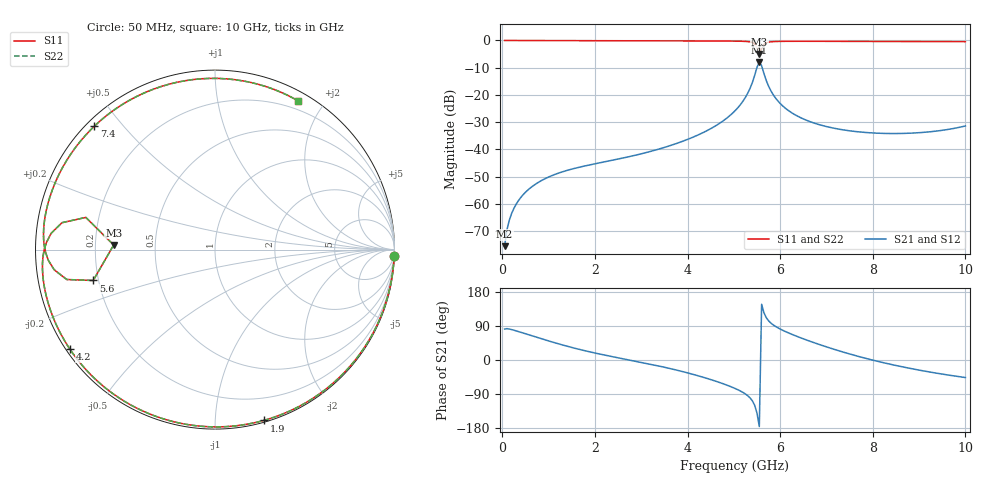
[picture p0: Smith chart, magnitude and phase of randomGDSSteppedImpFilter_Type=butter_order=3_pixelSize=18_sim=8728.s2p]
! freq	dB(S11)	phase(S11)	dB(S12)	phase(S12)
!  dB(S21)	phase(S21)	dB(S22)	phase(S22)
!S-par simulation data
#  GHz  S  DB  R 50
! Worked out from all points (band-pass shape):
!   200 points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, 50 MHz to 10 GHz, reference 50 ohm
!   highest |S21| = -7.91 dB at 5.55 GHz (marker M1); lowest = -75.5 dB at 50 MHz (marker M2)
!   |S21| within 3 dB of the highest: 5.482 GHz to 5.628 GHz (146.6 MHz wide, 2.64 % of centre)
!   lowest |S11| = -5.0 dB at 5.55 GHz (marker M3), VSWR 3.60, Z = 13.9 + j1.03 ohm
!   |S11| at or under -10 dB: nowhere
!   |S22| runs from -5.0 to 0.0 dB; largest |S21 - S12| = 0
!   S11 on the Smith chart (normalised r, x): 50 MHz: 1, -54; 1.9 GHz: 0.01, -1.33; 4.2 GHz: 0.01, -0.31; 5.6 GHz: 0.18, -0.12; 7.4 GHz: 0.02, +0.42; 10 GHz: 0.10, +1.69
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0.05  -0.00 -2.1  -75.46 81.6  -75.46 81.6  -0.00 -2.1
0.1  -0.01 -4.2  -69.52 82.8  -69.52 82.8  -0.01 -4.2
0.2  -0.02 -8.3  -63.53 80.3  -63.53 80.3  -0.02 -8.3
0.5  -0.03 -20.5  -55.70 69.3  -55.70 69.3  -0.03 -20.5
1  -0.05 -40.4  -50.10 50.3  -50.10 50.3  -0.05 -40.4
1.75  -0.08 -68.7  -46.16 25.4  -46.16 25.4  -0.08 -68.7
1.9  -0.09 -74.1  -45.61 21.2  -45.61 21.2  -0.09 -74.1
2.6  -0.11 -97.8  -43.16 3.4  -43.16 3.4  -0.11 -97.8
3.4  -0.14 -122.6  -39.75 -16.4  -39.75 -16.4  -0.14 -122.6
4.2  -0.17 -145.6  -34.88 -40.6  -34.88 -40.6  -0.17 -145.6
5.05  -0.25 -170.1  -25.36 -76.4  -25.36 -76.4  -0.25 -170.1
5.4  -0.75 174.3  -15.41 -107.8  -15.41 -107.8  -0.75 174.3
5.5  -2.60 166.0  -9.83 -140.2  -9.83 -140.2  -2.60 166.0
5.55  -4.96 177.4  -7.91 -175.7  -7.91 -175.7  -4.96 177.4
5.6  -3.10 -165.8  -9.30 147.0  -9.30 147.0  -3.10 -165.8
5.7  -0.88 -172.9  -14.69 111.7  -14.69 111.7  -0.89 -172.9
5.95  -0.36 174.8  -22.17 85.0  -22.17 85.0  -0.36 174.8
6.7  -0.31 153.0  -30.12 47.0  -30.12 47.0  -0.31 153.0
7.4  -0.34 134.4  -32.91 19.5  -32.91 19.5  -0.34 134.4
8.35  -0.38 108.6  -34.14 -10.5  -34.14 -10.5  -0.38 108.6
9.2  -0.41 84.5  -33.56 -31.1  -33.56 -31.1  -0.42 84.5
10  -0.45 61.0  -31.36 -46.3  -31.36 -46.3  -0.45 61.0
